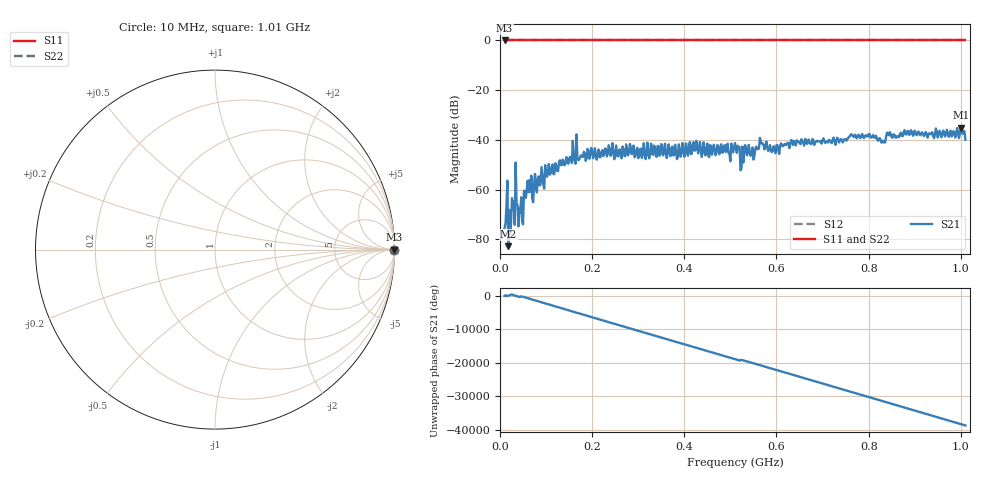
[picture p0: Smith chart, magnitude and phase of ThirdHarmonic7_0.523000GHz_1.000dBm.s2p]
! 8/17/2025 3:24:43 PM
! C:\ANRITSUVNA\TEMP\TEMP.S2P
! CHANNEL.1
! TR.MEASUREMENT
! RAW.DATA
! RF.CORRECTION.OFF
! AVERAGING.OFF
! IF.BANDWIDTH: 5KHZ
! SWEEPTYPE:  FREQ.SWEEP(Linear)
! Reference Plane Port Info
! PORT:  PORT1  PORT2
! DISTANCE:  0  m  0  m
! TIME:  0  s  0  s
! PHASE.OFFSET:  0  deg.  0  deg.
! LOSS:  0  dB  0  dB
! REF.LOSS:  0  dB  0  dB
! REF.FREQ:  0  Hz  0  Hz
! Power Info
! POWER:  -20  dBm  -20  dBm
! EFF.POWER:  -20  dBm  -20  dBm
! SOURCE.ATTEN:  0  dB  0  dB
! TEST.ATTEN:  0  dB  0  dB
# GHZ S RI R 50.0
! FREQ.GHZ  S11RE  S11IM  S21RE  S21IM  S12RE  S12IM  S22RE  S22IM
!; PortSelection: Port_12
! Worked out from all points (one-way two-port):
!   501 points, 10 MHz to 1.01 GHz, reference 50 ohm
!   highest |S21| = -35.04 dB at 1 GHz (marker M1); lowest = -82.7 dB at 18 MHz (marker M2)
!   lowest |S11| = 0.0 dB at 10 MHz (marker M3)
!   |S11| at or under -10 dB: nowhere
!   |S22| runs from 0.0 to 0.0 dB; largest |S21 - S12| = 1
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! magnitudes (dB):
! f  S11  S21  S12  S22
! 10 MHz  0.0  -75.4  0.0  0.0
! 12 MHz  0.0  -73.7  0.0  0.0
! 18 MHz  0.0  -82.7  0.0  0.0
! 22 MHz  0.0  -78.0  0.0  0.0
! 30 MHz  0.0  -64.7  0.0  0.0
! 46 MHz  0.0  -63.1  0.0  0.0
! 64 MHz  0.0  -56.1  0.0  0.0
! 70 MHz  0.0  -63.7  0.0  0.0
! 162 MHz  0.0  -48.4  0.0  0.0
! 178 MHz  0.0  -46.8  0.0  0.0
! 344 MHz  0.0  -42.4  0.0  0.0
! 510 MHz  0.0  -41.3  0.0  0.0
! 526 MHz  0.0  -42.7  0.0  0.0
! 530 MHz  0.0  -45.1  0.0  0.0
! 548 MHz  0.0  -43.0  0.0  0.0
! 568 MHz  0.0  -41.5  0.0  0.0
! 594 MHz  0.0  -42.5  0.0  0.0
! 678 MHz  0.0  -39.7  0.0  0.0
! 832 MHz  0.0  -40.4  0.0  0.0
! 844 MHz  0.0  -38.1  0.0  0.0
! 1 GHz  0.0  -35.0  0.0  0.0
! 1.01 GHz  0.0  -39.9  0.0  0.0
